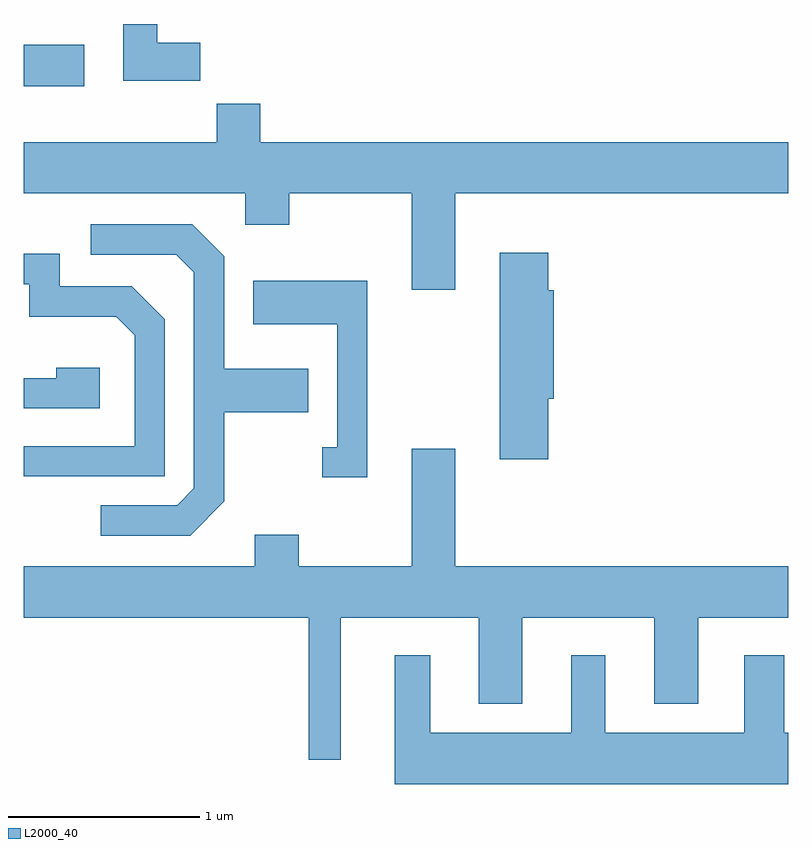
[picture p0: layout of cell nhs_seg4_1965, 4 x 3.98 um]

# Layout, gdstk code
import gdstk
lib = gdstk.Library(unit=1e-6, precision=1e-09)
def R(c, l, rs):  # rectangles x0, y0, x1, y1
    for r in rs: c.add(gdstk.rectangle(r[:2], r[2:], *l))
def P(c, l, *ps):  # polygons
    for p in ps: c.add(gdstk.Polygon(p, *l))
L2000_40 = (2000, 40)

nhs_seg4_1965 = lib.new_cell('nhs_seg4_1965')
R(nhs_seg4_1965, L2000_40, [(241.611,1379.656,241.929,1379.874)])
P(nhs_seg4_1965, L2000_40, [(242.534,1379.884),(242.309,1379.884),(242.309,1379.982),(242.131,1379.982),(242.131,1379.686),(242.534,1379.686)],
  [(243.869,1379.096),(245.611,1379.096),(245.611,1379.364),(242.849,1379.364),(242.849,1379.564),(242.621,1379.564),(242.621,1379.364),(241.611,1379.364),(241.611,1379.096),(242.771,1379.096),(242.771,1378.931),(242.999,1378.931),(242.999,1379.096),(243.641,1379.096),(243.641,1378.591),(243.869,1378.591)],
  [(242.659,1377.484),(242.659,1377.951),(243.099,1377.951),(243.099,1378.179),(242.659,1378.179),(242.659,1378.767),(242.492,1378.934),(241.963,1378.934),(241.963,1378.776),(242.409,1378.776),(242.501,1378.684),(242.501,1377.552),(242.414,1377.464),(242.013,1377.464),(242.013,1377.306),(242.482,1377.306)],
  [(244.354,1378.021),(244.384,1378.021),(244.384,1378.589),(244.354,1378.589),(244.354,1378.784),(244.101,1378.784),(244.101,1377.706),(244.354,1377.706)],
  [(242.349,1378.437),(242.177,1378.609),(241.799,1378.609),(241.799,1378.779),(241.611,1378.779),(241.611,1378.621),(241.641,1378.621),(241.641,1378.451),(242.094,1378.451),(242.191,1378.354),(242.191,1377.774),(241.611,1377.774),(241.611,1377.616),(242.349,1377.616)],
  [(243.409,1378.639),(242.811,1378.639),(242.811,1378.411),(243.251,1378.411),(243.251,1377.769),(243.173,1377.769),(243.173,1377.611),(243.409,1377.611)],
  [(242.009,1378.184),(241.781,1378.184),(241.781,1378.129),(241.611,1378.129),(241.611,1377.971),(242.009,1377.971)],
  [(243.269,1376.876),(243.991,1376.876),(243.991,1376.426),(244.219,1376.426),(244.219,1376.876),(244.911,1376.876),(244.911,1376.426),(245.139,1376.426),(245.139,1376.876),(245.611,1376.876),(245.611,1377.144),(243.869,1377.144),(243.869,1377.759),(243.641,1377.759),(243.641,1377.144),(243.049,1377.144),(243.049,1377.309),(242.821,1377.309),(242.821,1377.144),(241.611,1377.144),(241.611,1376.876),(243.101,1376.876),(243.101,1376.133),(243.269,1376.133)],
  [(245.611,1376.274),(245.589,1376.274),(245.589,1376.679),(245.381,1376.679),(245.381,1376.274),(244.654,1376.274),(244.654,1376.679),(244.476,1376.679),(244.476,1376.274),(243.739,1376.274),(243.739,1376.679),(243.551,1376.679),(243.551,1376.006),(245.611,1376.006)])

lib.write_gds('nhs_seg4_1965.gds')
